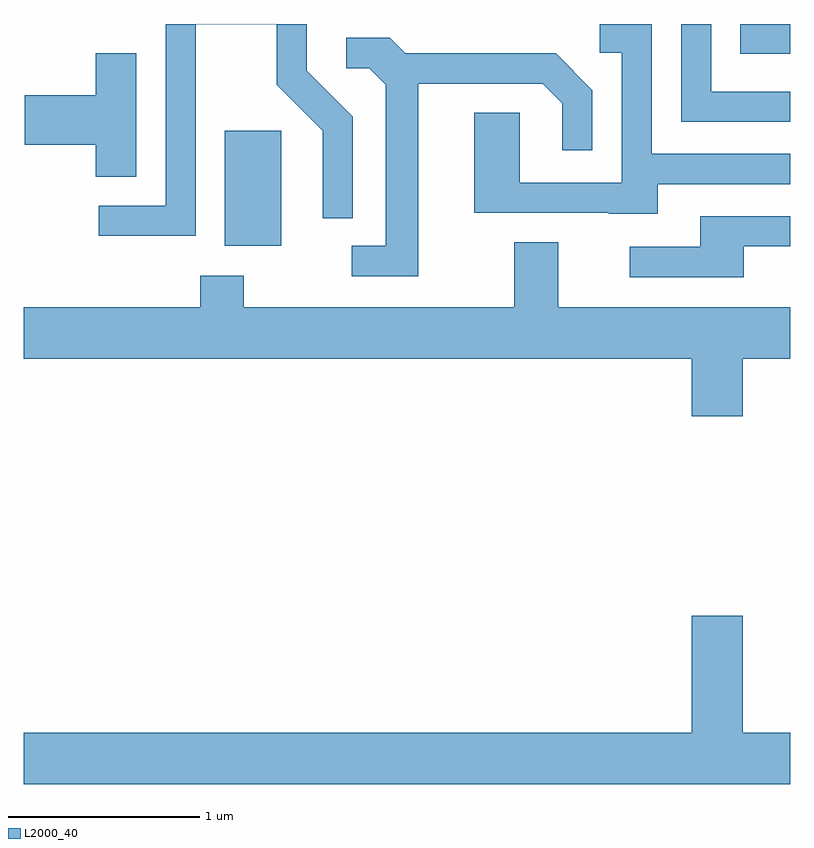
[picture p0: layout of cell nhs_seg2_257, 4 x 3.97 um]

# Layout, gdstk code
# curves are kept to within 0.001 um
import gdstk
lib = gdstk.Library(unit=1e-6, precision=1e-09)
def R(c, l, rs):  # rectangles x0, y0, x1, y1
    for r in rs: c.add(gdstk.rectangle(r[:2], r[2:], *l))
def P(c, l, *ps):  # polygons
    for p in ps: c.add(gdstk.Polygon(p, *l))
L2000_40 = (2000, 40)

nhs_seg2_257 = lib.new_cell('nhs_seg2_257')
R(nhs_seg2_257, L2000_40, [(192.661,1086.646,192.954,1087.244), (195.351,1087.646,195.611,1087.802)])
P(nhs_seg2_257, L2000_40, [(192.509,1087.801),(192.931,1087.801),(192.931,1087.484),(193.171,1087.244),(193.171,1086.788),(193.329,1086.788),(193.329,1087.317),(193.089,1087.557),(193.089,1087.802),(192.003,1087.802),(192.351,1087.801),(192.351,1086.854),(192.003,1086.854),(192.003,1086.696),(192.509,1086.696)],
  [(194.383,1087.802),(193.843,1087.802),(193.844,1087.801),(194.382,1087.801)],
  [(195.611,1087.449),(195.199,1087.449),(195.199,1087.802),(195.041,1087.802),(195.041,1087.291),(195.611,1087.291)],
  [(194.919,1086.966),(195.611,1086.966),(195.611,1087.124),(194.889,1087.124),(194.889,1087.802),(194.618,1087.802),(194.618,1087.651),(194.731,1087.651),(194.731,1086.974),(194.199,1086.974),(194.199,1087.339),(193.961,1087.339),(193.961,1086.816),(194.665,1086.816),(194.665,1086.811),(194.919,1086.811)],
  [(193.669,1087.491),(194.319,1087.491),(194.421,1087.389),(194.421,1087.143),(194.579,1087.143),(194.579,1087.457),(194.387,1087.649),(193.602,1087.649),(193.522,1087.729),(193.293,1087.729),(193.293,1087.571),(193.414,1087.571),(193.501,1087.484),(193.501,1086.644),(193.323,1086.644),(193.323,1086.486),(193.669,1086.486)],
  [(192.199,1087.649),(191.986,1087.649),(191.986,1087.429),(191.616,1087.429),(191.616,1087.171),(191.986,1087.171),(191.986,1087.006),(192.199,1087.006)],
  [(195.369,1086.641),(195.611,1086.641),(195.611,1086.799),(195.141,1086.799),(195.141,1086.639),(194.773,1086.639),(194.773,1086.481),(195.369,1086.481)],
  [(195.364,1086.056),(195.611,1086.056),(195.611,1086.324),(194.399,1086.324),(194.399,1086.664),(194.171,1086.664),(194.171,1086.324),(192.759,1086.324),(192.759,1086.489),(192.531,1086.489),(192.531,1086.324),(191.611,1086.324),(191.611,1086.056),(195.096,1086.056),(195.096,1085.756),(195.364,1085.756)],
  [(195.611,1084.104),(195.364,1084.104),(195.364,1084.714),(195.096,1084.714),(195.096,1084.104),(191.611,1084.104),(191.611,1083.836),(195.611,1083.836)])

lib.write_gds('nhs_seg2_257.gds')
